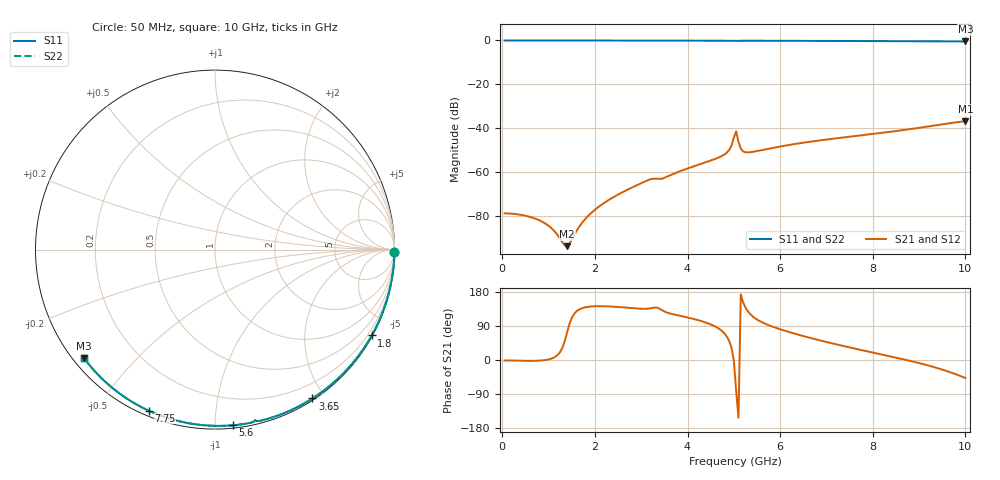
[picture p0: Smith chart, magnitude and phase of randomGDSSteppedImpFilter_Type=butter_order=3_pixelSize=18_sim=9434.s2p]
! freq	dB(S11)	phase(S11)	dB(S12)	phase(S12)
!  dB(S21)	phase(S21)	dB(S22)	phase(S22)
!S-par simulation data
#  GHz  S  DB  R 50
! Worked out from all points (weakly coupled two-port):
!   200 points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, 50 MHz to 10 GHz, reference 50 ohm
!   highest |S21| = -36.81 dB at 10 GHz (marker M1); lowest = -93.8 dB at 1.4 GHz (marker M2)
!   lowest |S11| = -0.5 dB at 10 GHz (marker M3), VSWR 37.36, Z = 1.51 - j18 ohm
!   |S11| at or under -10 dB: nowhere
!   |S22| runs from -0.5 to 0.0 dB; largest |S21 - S12| = 0
!   S11 on the Smith chart (normalised r, x): 50 MHz: open; 1.8 GHz: 0.03, -3.91; 3.65 GHz: 0.02, -1.85; 5.6 GHz: 0.02, -1.11; 7.75 GHz: 0.02, -0.67; 10 GHz: 0.03, -0.36
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0.05  -0.00 -0.8  -78.84 -1.4  -78.84 -1.4  -0.00 -0.8
0.55  -0.01 -8.9  -80.19 -2.3  -80.19 -2.3  -0.01 -8.9
1.4  -0.03 -22.4  -93.82 73.3  -93.82 73.3  -0.03 -22.4
1.75  -0.04 -27.9  -82.45 137.7  -82.45 137.7  -0.04 -27.9
1.8  -0.04 -28.7  -81.22 139.3  -81.22 139.3  -0.04 -28.7
1.85  -0.04 -29.5  -80.10 140.3  -80.10 140.3  -0.04 -29.5
2.2  -0.04 -34.9  -74.09 141.9  -74.09 141.9  -0.04 -34.9
2.65  -0.05 -41.8  -68.63 138.4  -68.63 138.4  -0.05 -41.8
3.2  -0.07 -50.1  -63.28 136.4  -63.28 136.4  -0.07 -50.1
3.4  -0.07 -53.1  -63.15 134.6  -63.15 134.6  -0.07 -53.1
3.65  -0.08 -56.8  -61.23 121.8  -61.23 121.8  -0.08 -56.8
4.8  -0.11 -73.4  -51.95 69.7  -51.95 69.7  -0.11 -73.4
4.95  -0.12 -75.6  -47.94 32.3  -47.94 32.3  -0.12 -75.6
5.05  -0.21 -76.7  -41.43 -81.7  -41.43 -81.7  -0.22 -76.7
5.1  -0.15 -77.2  -46.25 -152.3  -46.25 -152.3  -0.15 -77.2
5.15  -0.13 -77.9  -49.35 173.2  -49.35 173.2  -0.14 -78.0
5.2  -0.13 -78.7  -50.59 152.3  -50.59 152.3  -0.13 -78.7
5.6  -0.14 -84.3  -50.02 100.1  -50.02 100.1  -0.14 -84.3
6.7  -0.19 -98.9  -46.03 56.7  -46.03 56.7  -0.19 -98.9
7.75  -0.26 -112.4  -43.28 26.4  -43.28 26.4  -0.26 -112.4
8.35  -0.31 -119.9  -41.74 10.4  -41.74 10.4  -0.31 -120.0
10  -0.47 -140.5  -36.81 -47.5  -36.81 -47.5  -0.47 -140.5
